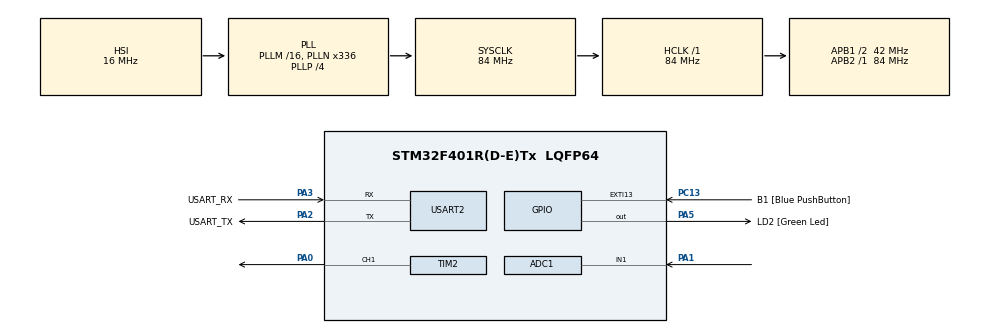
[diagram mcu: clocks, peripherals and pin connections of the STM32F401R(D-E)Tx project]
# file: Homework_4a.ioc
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ADC1.Channel-0\#ChannelRegularConversion=ADC_CHANNEL_1
ADC1.NbrOfConversion=1
ADC1.NbrOfConversionFlag=1
ADC1.Rank-0\#ChannelRegularConversion=1
ADC1.SamplingTime-0\#ChannelRegularConversion=ADC_SAMPLETIME_480CYCLES
ADC1.master=1
Mcu.Family=STM32F4
Mcu.Name=STM32F401R(D-E)Tx
Mcu.Package=LQFP64
NVIC.ADC_IRQn=true\:0\:0\:false\:false\:true\:true\:true\:true
NVIC.PriorityGroup=NVIC_PRIORITYGROUP_0
NVIC.TIM2_IRQn=true\:0\:0\:false\:false\:true\:true\:true\:true
NVIC.USART2_IRQn=true\:0\:0\:false\:false\:true\:true\:true\:true
PA0-WKUP.Signal=S_TIM2_CH1_ETR
PA1.Signal=ADCx_IN1
PA13.GPIO_Label=TMS
PA13.Mode=Serial_Wire
PA13.Signal=SYS_JTMS-SWDIO
PA14.GPIO_Label=TCK
PA14.Mode=Serial_Wire
PA14.Signal=SYS_JTCK-SWCLK
PA2.GPIO_Label=USART_TX
PA2.GPIO_Mode=GPIO_MODE_AF_PP
PA2.GPIO_PuPd=GPIO_NOPULL
PA2.GPIO_Speed=GPIO_SPEED_FREQ_LOW
PA2.Mode=Asynchronous
PA2.Signal=USART2_TX
PA3.GPIO_Label=USART_RX
PA3.GPIO_Mode=GPIO_MODE_AF_PP
PA3.GPIO_PuPd=GPIO_NOPULL
PA3.GPIO_Speed=GPIO_SPEED_FREQ_LOW
PA3.Mode=Asynchronous
PA3.Signal=USART2_RX
PA5.GPIO_Label=LD2 [Green Led]
PA5.GPIO_Mode=GPIO_MODE_OUTPUT_PP
PA5.GPIO_PuPd=GPIO_NOPULL
PA5.GPIO_Speed=GPIO_SPEED_FREQ_LOW
PA5.Signal=GPIO_Output
PB3.GPIO_Label=SWO
PB3.Signal=SYS_JTDO-SWO
PC13-ANTI_TAMP.GPIO_Label=B1 [Blue PushButton]
PC13-ANTI_TAMP.GPIO_ModeDefaultEXTI=GPIO_MODE_IT_FALLING
PC13-ANTI_TAMP.GPIO_PuPd=GPIO_NOPULL
PC13-ANTI_TAMP.Signal=GPXTI13
PC14-OSC32_IN.Mode=LSE-External-Oscillator
PC14-OSC32_IN.Signal=RCC_OSC32_IN
PC15-OSC32_OUT.Mode=LSE-External-Oscillator
PC15-OSC32_OUT.Signal=RCC_OSC32_OUT
PH0\ -\ OSC_IN.Mode=HSE-External-Clock-Source
PH0\ -\ OSC_IN.Signal=RCC_OSC_IN
PH1\ -\ OSC_OUT.Mode=HSE-External-Clock-Source
PH1\ -\ OSC_OUT.Signal=RCC_OSC_OUT
ProjectManager.HeapSize=0x200
ProjectManager.StackSize=0x400
ProjectManager.TargetToolchain=STM32CubeIDE
RCC.48MHZClocksFreq_Value=48000000
RCC.AHBFreq_Value=84000000
RCC.APB1CLKDivider=RCC_HCLK_DIV2
RCC.APB1Freq_Value=42000000
RCC.APB1TimFreq_Value=84000000
RCC.APB2Freq_Value=84000000
RCC.APB2TimFreq_Value=84000000
RCC.CortexFreq_Value=84000000
RCC.HCLKFreq_Value=84000000
RCC.HSE_VALUE=8000000
RCC.HSI_VALUE=16000000
RCC.PLLN=336
RCC.PLLP=RCC_PLLP_DIV4
RCC.PLLQ=7
RCC.SYSCLKFreq_VALUE=84000000
RCC.SYSCLKSource=RCC_SYSCLKSOURCE_PLLCLK
RCC.VCOOutputFreq_Value=336000000
SH.ADCx_IN1.0=ADC1_IN1,IN1
SH.S_TIM2_CH1_ETR.0=TIM2_CH1,Output Compare1 CH1
TIM2.Channel-Output\ Compare1\ CH1=TIM_CHANNEL_1
TIM2.Period=10000-1
TIM2.Prescaler=8400-1
USART2.VirtualMode=VM_ASYNC
VP_TIM2_VS_ClockSourceINT.Mode=Internal
board=NUCLEO-F401RE

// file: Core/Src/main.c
/* USER CODE BEGIN Header */
/**
  ******************************************************************************
  * @file           : main.c
  * @brief          : Main program body
  ******************************************************************************
  * @attention
  *
  * Copyright (c) 2023 STMicroelectronics.
  * All rights reserved.
  *
  * This software is licensed under terms that can be found in the LICENSE file
  * in the root directory of this software component.
  * If no LICENSE file comes with this software, it is provided AS-IS.
  *
  ******************************************************************************
  */
/* USER CODE END Header */
#include "main.h"

ADC_HandleTypeDef hadc1;

TIM_HandleTypeDef htim2;

UART_HandleTypeDef huart2;

void SystemClock_Config(void);
static void MX_GPIO_Init(void);
static void MX_USART2_UART_Init(void);
static void MX_ADC1_Init(void);
static void MX_TIM2_Init(void);

/* USER CODE BEGIN 0 */
uint32_t ADC_value;
float voltage;
char text[64];
int length;

void HAL_TIM_PeriodElapsedCallback(TIM_HandleTypeDef *htim) {
	if (htim == &htim2) {
		HAL_UART_Transmit(&huart2, (uint8_t *)text, length, 20);
		HAL_ADC_Start_IT(&hadc1);
	}
}

void HAL_ADC_ConvCpltCallback(ADC_HandleTypeDef *hadc) {
	if (hadc == &hadc1){
		ADC_value = HAL_ADC_GetValue(&hadc1);
		voltage = ADC_value*3.3/4096.0;
		length = snprintf(text,sizeof(text),"voltage=%3f V\r\n",voltage);
	}

}
/* USER CODE END 0 */

int main(void)
{

  /* MCU Configuration--------------------------------------------------------*/

  /* Reset of all peripherals, Initializes the Flash interface and the Systick. */
  HAL_Init();

  /* Configure the system clock */
  SystemClock_Config();

  /* Initialize all configured peripherals */
  MX_GPIO_Init();
  MX_USART2_UART_Init();
  MX_ADC1_Init();
  MX_TIM2_Init();
  /* USER CODE BEGIN 2 */
  __HAL_TIM_CLEAR_FLAG(&htim2, TIM_FLAG_UPDATE);
  HAL_TIM_Base_Start_IT(&htim2);

  /* USER CODE END 2 */

  /* Infinite loop */
  while (1)
  {

  }
}

void SystemClock_Config(void)
{
  RCC_OscInitTypeDef RCC_OscInitStruct = {0};
  RCC_ClkInitTypeDef RCC_ClkInitStruct = {0};

  /** Configure the main internal regulator output voltage
  */
  __HAL_RCC_PWR_CLK_ENABLE();
  __HAL_PWR_VOLTAGESCALING_CONFIG(PWR_REGULATOR_VOLTAGE_SCALE2);

  /** Initializes the RCC Oscillators according to the specified parameters
  * in the RCC_OscInitTypeDef structure.
  */
  RCC_OscInitStruct.OscillatorType = RCC_OSCILLATORTYPE_HSI;
  RCC_OscInitStruct.HSIState = RCC_HSI_ON;
  RCC_OscInitStruct.HSICalibrationValue = RCC_HSICALIBRATION_DEFAULT;
  RCC_OscInitStruct.PLL.PLLState = RCC_PLL_ON;
  RCC_OscInitStruct.PLL.PLLSource = RCC_PLLSOURCE_HSI;
  RCC_OscInitStruct.PLL.PLLM = 16;
  RCC_OscInitStruct.PLL.PLLN = 336;
  RCC_OscInitStruct.PLL.PLLP = RCC_PLLP_DIV4;
  RCC_OscInitStruct.PLL.PLLQ = 7;
  if (HAL_RCC_OscConfig(&RCC_OscInitStruct) != HAL_OK)
  {
    Error_Handler();
  }

  /** Initializes the CPU, AHB and APB buses clocks
  */
  RCC_ClkInitStruct.ClockType = RCC_CLOCKTYPE_HCLK|RCC_CLOCKTYPE_SYSCLK
                              |RCC_CLOCKTYPE_PCLK1|RCC_CLOCKTYPE_PCLK2;
  RCC_ClkInitStruct.SYSCLKSource = RCC_SYSCLKSOURCE_PLLCLK;
  RCC_ClkInitStruct.AHBCLKDivider = RCC_SYSCLK_DIV1;
  RCC_ClkInitStruct.APB1CLKDivider = RCC_HCLK_DIV2;
  RCC_ClkInitStruct.APB2CLKDivider = RCC_HCLK_DIV1;

  if (HAL_RCC_ClockConfig(&RCC_ClkInitStruct, FLASH_LATENCY_2) != HAL_OK)
  {
    Error_Handler();
  }
}

static void MX_ADC1_Init(void)
{

  ADC_ChannelConfTypeDef sConfig = {0};

  /** Configure the global features of the ADC (Clock, Resolution, Data Alignment and number of conversion)
  */
  hadc1.Instance = ADC1;
  hadc1.Init.ClockPrescaler = ADC_CLOCK_SYNC_PCLK_DIV4;
  hadc1.Init.Resolution = ADC_RESOLUTION_12B;
  hadc1.Init.ScanConvMode = DISABLE;
  hadc1.Init.ContinuousConvMode = DISABLE;
  hadc1.Init.DiscontinuousConvMode = DISABLE;
  hadc1.Init.ExternalTrigConvEdge = ADC_EXTERNALTRIGCONVEDGE_NONE;
  hadc1.Init.ExternalTrigConv = ADC_SOFTWARE_START;
  hadc1.Init.DataAlign = ADC_DATAALIGN_RIGHT;
  hadc1.Init.NbrOfConversion = 1;
  hadc1.Init.DMAContinuousRequests = DISABLE;
  hadc1.Init.EOCSelection = ADC_EOC_SINGLE_CONV;
  if (HAL_ADC_Init(&hadc1) != HAL_OK)
  {
    Error_Handler();
  }

  /** Configure for the selected ADC regular channel its corresponding rank in the sequencer and its sample time.
  */
  sConfig.Channel = ADC_CHANNEL_1;
  sConfig.Rank = 1;
  sConfig.SamplingTime = ADC_SAMPLETIME_480CYCLES;
  if (HAL_ADC_ConfigChannel(&hadc1, &sConfig) != HAL_OK)
  {
    Error_Handler();
  }

}

static void MX_TIM2_Init(void)
{

  TIM_ClockConfigTypeDef sClockSourceConfig = {0};
  TIM_MasterConfigTypeDef sMasterConfig = {0};
  TIM_OC_InitTypeDef sConfigOC = {0};

  htim2.Instance = TIM2;
  htim2.Init.Prescaler = 8400-1;
  htim2.Init.CounterMode = TIM_COUNTERMODE_UP;
  htim2.Init.Period = 10000-1;
  htim2.Init.ClockDivision = TIM_CLOCKDIVISION_DIV1;
  htim2.Init.AutoReloadPreload = TIM_AUTORELOAD_PRELOAD_DISABLE;
  if (HAL_TIM_Base_Init(&htim2) != HAL_OK)
  {
    Error_Handler();
  }
  sClockSourceConfig.ClockSource = TIM_CLOCKSOURCE_INTERNAL;
  if (HAL_TIM_ConfigClockSource(&htim2, &sClockSourceConfig) != HAL_OK)
  {
    Error_Handler();
  }
  if (HAL_TIM_OC_Init(&htim2) != HAL_OK)
  {
    Error_Handler();
  }
  sMasterConfig.MasterOutputTrigger = TIM_TRGO_RESET;
  sMasterConfig.MasterSlaveMode = TIM_MASTERSLAVEMODE_DISABLE;
  if (HAL_TIMEx_MasterConfigSynchronization(&htim2, &sMasterConfig) != HAL_OK)
  {
    Error_Handler();
  }
  sConfigOC.OCMode = TIM_OCMODE_TIMING;
  sConfigOC.Pulse = 0;
  sConfigOC.OCPolarity = TIM_OCPOLARITY_HIGH;
  sConfigOC.OCFastMode = TIM_OCFAST_DISABLE;
  if (HAL_TIM_OC_ConfigChannel(&htim2, &sConfigOC, TIM_CHANNEL_1) != HAL_OK)
  {
    Error_Handler();
  }
  HAL_TIM_MspPostInit(&htim2);

}

static void MX_USART2_UART_Init(void)
{

  huart2.Instance = USART2;
  huart2.Init.BaudRate = 115200;
  huart2.Init.WordLength = UART_WORDLENGTH_8B;
  huart2.Init.StopBits = UART_STOPBITS_1;
  huart2.Init.Parity = UART_PARITY_NONE;
  huart2.Init.Mode = UART_MODE_TX_RX;
  huart2.Init.HwFlowCtl = UART_HWCONTROL_NONE;
  huart2.Init.OverSampling = UART_OVERSAMPLING_16;
  if (HAL_UART_Init(&huart2) != HAL_OK)
  {
    Error_Handler();
  }

}

static void MX_GPIO_Init(void)
{
  GPIO_InitTypeDef GPIO_InitStruct = {0};

  /* GPIO Ports Clock Enable */
  __HAL_RCC_GPIOC_CLK_ENABLE();
  __HAL_RCC_GPIOH_CLK_ENABLE();
  __HAL_RCC_GPIOA_CLK_ENABLE();
  __HAL_RCC_GPIOB_CLK_ENABLE();

  /*Configure GPIO pin Output Level */
  HAL_GPIO_WritePin(LD2_GPIO_Port, LD2_Pin, GPIO_PIN_RESET);

  /*Configure GPIO pin : B1_Pin */
  GPIO_InitStruct.Pin = B1_Pin;
  GPIO_InitStruct.Mode = GPIO_MODE_IT_FALLING;
  GPIO_InitStruct.Pull = GPIO_NOPULL;
  HAL_GPIO_Init(B1_GPIO_Port, &GPIO_InitStruct);

  /*Configure GPIO pin : LD2_Pin */
  GPIO_InitStruct.Pin = LD2_Pin;
  GPIO_InitStruct.Mode = GPIO_MODE_OUTPUT_PP;
  GPIO_InitStruct.Pull = GPIO_NOPULL;
  GPIO_InitStruct.Speed = GPIO_SPEED_FREQ_LOW;
  HAL_GPIO_Init(LD2_GPIO_Port, &GPIO_InitStruct);

}

void Error_Handler(void)
{
  __disable_irq();
  while (1)
  {
  }
}
